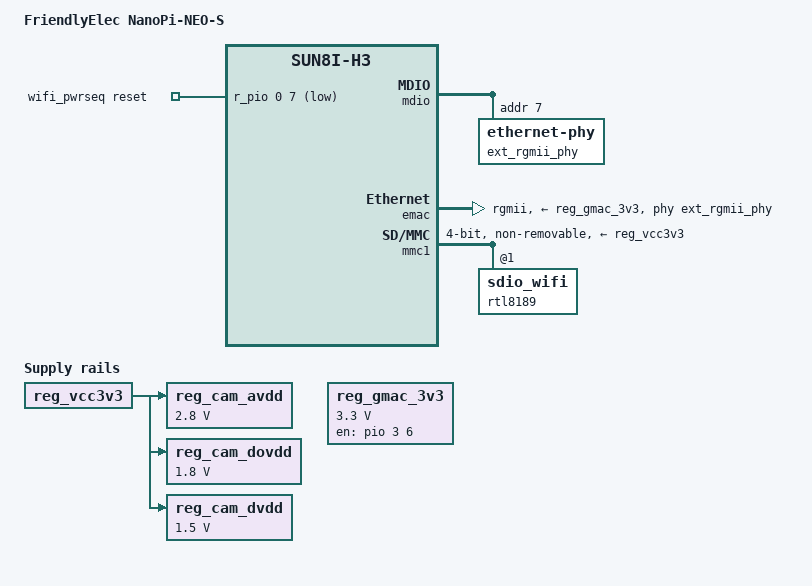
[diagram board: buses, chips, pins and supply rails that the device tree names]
/*
 * Copyright (C) 2017 Jagan Teki <jteki@openedev.com>
 *
 * This file is dual-licensed: you can use it either under the terms
 * of the GPL or the X11 license, at your option. Note that this dual
 * licensing only applies to this file, and not this project as a
 * whole.
 *
 *  a) This file is free software; you can redistribute it and/or
 *     modify it under the terms of the GNU General Public License as
 *     published by the Free Software Foundation; either version 2 of the
 *     License, or (at your option) any later version.
 *
 *     This file is distributed in the hope that it will be useful,
 *     but WITHOUT ANY WARRANTY; without even the implied warranty of
 *     MERCHANTABILITY or FITNESS FOR A PARTICULAR PURPOSE.  See the
 *     GNU General Public License for more details.
 *
 * Or, alternatively,
 *
 *  b) Permission is hereby granted, free of charge, to any person
 *     obtaining a copy of this software and associated documentation
 *     files (the "Software"), to deal in the Software without
 *     restriction, including without limitation the rights to use,
 *     copy, modify, merge, publish, distribute, sublicense, and/or
 *     sell copies of the Software, and to permit persons to whom the
 *     Software is furnished to do so, subject to the following
 *     conditions:
 *
 *     The above copyright notice and this permission notice shall be
 *     included in all copies or substantial portions of the Software.
 *
 *     THE SOFTWARE IS PROVIDED "AS IS", WITHOUT WARRANTY OF ANY KIND,
 *     EXPRESS OR IMPLIED, INCLUDING BUT NOT LIMITED TO THE WARRANTIES
 *     OF MERCHANTABILITY, FITNESS FOR A PARTICULAR PURPOSE AND
 *     NONINFRINGEMENT. IN NO EVENT SHALL THE AUTHORS OR COPYRIGHT
 *     HOLDERS BE LIABLE FOR ANY CLAIM, DAMAGES OR OTHER LIABILITY,
 *     WHETHER IN AN ACTION OF CONTRACT, TORT OR OTHERWISE, ARISING
 *     FROM, OUT OF OR IN CONNECTION WITH THE SOFTWARE OR THE USE OR
 *     OTHER DEALINGS IN THE SOFTWARE.
 */

#include "sun8i-h3-nanopi.dtsi"

/ {
	model = "FriendlyElec NanoPi-NEO-S";
	compatible = "friendlyelec,nanopi-neo-s", "allwinner,sun8i-h3";

	wifi_pwrseq: wifi_pwrseq {
		compatible = "mmc-pwrseq-simple";
		pinctrl-names = "default";
		pinctrl-0 = <&wifi_en_npi>;
		reset-gpios = <&r_pio 0 7 GPIO_ACTIVE_LOW>; /* PL7 */
		post-power-on-delay-ms = <200>;
	};

	reg_gmac_3v3: gmac-3v3 {
		compatible = "regulator-fixed";
		regulator-name = "gmac-3v3";
		regulator-min-microvolt = <3300000>;
		regulator-max-microvolt = <3300000>;
		startup-delay-us = <100000>;
		enable-active-high;
		gpio = <&pio 3 6 GPIO_ACTIVE_HIGH>;
	};

	cam_xclk: cam-xclk {
		#clock-cells = <0>;
		compatible = "fixed-clock";
		clock-frequency = <24000000>;
		clock-output-names = "cam-xclk";
	};

	reg_cam_avdd: cam-avdd {
		compatible = "regulator-fixed";
		regulator-name = "cam500b-avdd";
		regulator-min-microvolt = <2800000>;
		regulator-max-microvolt = <2800000>;
		vin-supply = <&reg_vcc3v3>;
	};

	reg_cam_dovdd: cam-dovdd {
		compatible = "regulator-fixed";
		regulator-name = "cam500b-dovdd";
		regulator-min-microvolt = <1800000>;
		regulator-max-microvolt = <1800000>;
		vin-supply = <&reg_vcc3v3>;
	};

	reg_cam_dvdd: cam-dvdd {
		compatible = "regulator-fixed";
		regulator-name = "cam500b-dvdd";
		regulator-min-microvolt = <1500000>;
		regulator-max-microvolt = <1500000>;
		vin-supply = <&reg_vcc3v3>;
	};
};

&pio {
	gmac_power_pin_nanopi: gmac_power_pin@0 {
		pins = "PD6";
		function = "gpio_out";
	};
};

&r_pio {
	wifi_en_npi: wifi_en_pin {
		pins = "PL7";
		function = "gpio_out";
	};
};

&mdio {
    ext_rgmii_phy: ethernet-phy@1 {
        reg = <7>;
    };
};

&emac {
	pinctrl-names = "default";
	pinctrl-0 = <&emac_rgmii_pins>;
	phy-supply = <&reg_gmac_3v3>;
	phy-handle = <&ext_rgmii_phy>;
	phy-mode = "rgmii";
	allwinner,leds-active-low;
	status = "okay";
};

&mmc1 {
	pinctrl-names = "default";
	pinctrl-0 = <&mmc1_pins_a>;
	vmmc-supply = <&reg_vcc3v3>;
	vqmmc-supply = <&reg_vcc3v3>;
	mmc-pwrseq = <&wifi_pwrseq>;
	bus-width = <4>;
	non-removable;
	status = "okay";

	/*
	* Explicitly define the sdio device, so that we can add an ethernet
	* alias for it (which e.g. makes u-boot set a mac-address).
	*/
	rtl8189: sdio_wifi@1 {
		reg = <1>;
	};
};
